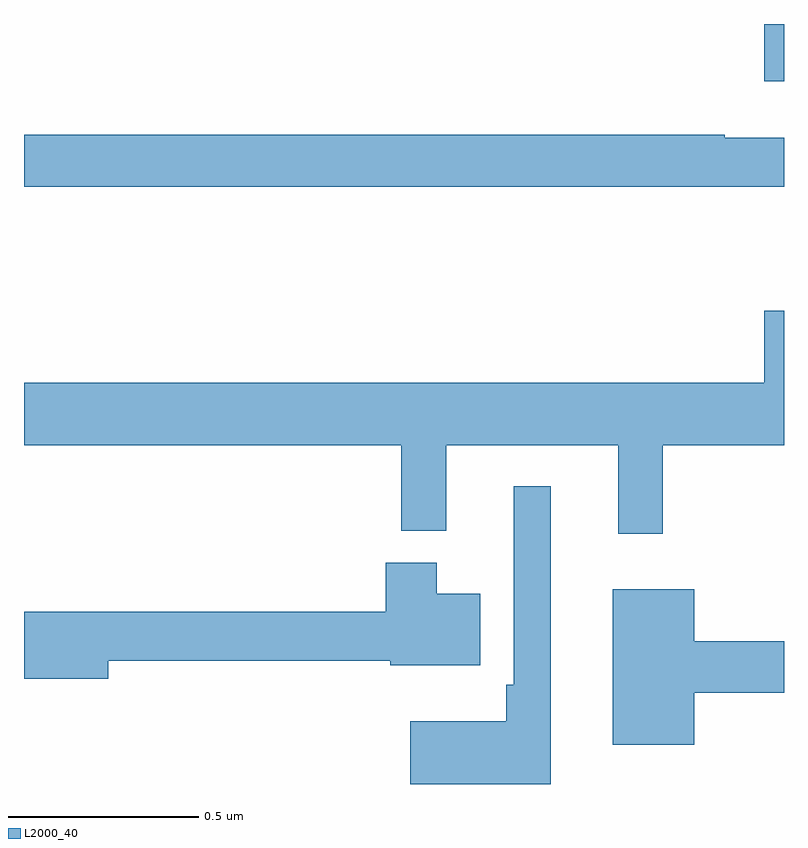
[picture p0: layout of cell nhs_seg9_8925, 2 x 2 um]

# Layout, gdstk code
import gdstk
lib = gdstk.Library(unit=1e-6, precision=1e-09)
def R(c, l, rs):  # rectangles x0, y0, x1, y1
    for r in rs: c.add(gdstk.rectangle(r[:2], r[2:], *l))
def P(c, l, *ps):  # polygons
    for p in ps: c.add(gdstk.Polygon(p, *l))
L2000_40 = (2000, 40)

nhs_seg9_8925 = lib.new_cell('nhs_seg9_8925')
R(nhs_seg9_8925, L2000_40, [(224.948,1225.35,225,1225.5)])
P(nhs_seg9_8925, L2000_40, [(225,1225.201),(224.844,1225.201),(224.844,1225.208),(223,1225.208),(223,1225.072),(225,1225.072)],
  [(224.681,1224.392),(225,1224.392),(225,1224.745),(224.948,1224.745),(224.948,1224.556),(223,1224.556),(223,1224.392),(223.993,1224.392),(223.993,1224.167),(224.111,1224.167),(224.111,1224.392),(224.564,1224.392),(224.564,1224.159),(224.681,1224.159)],
  [(224.386,1224.283),(224.289,1224.283),(224.289,1223.761),(224.269,1223.761),(224.269,1223.665),(224.016,1223.665),(224.016,1223.5),(224.386,1223.5)],
  [(223.222,1223.824),(223.964,1223.824),(223.964,1223.813),(224.2,1223.813),(224.2,1224.001),(224.086,1224.001),(224.086,1224.082),(223.952,1224.082),(223.952,1223.953),(223,1223.953),(223,1223.777),(223.222,1223.777)],
  [(224.764,1223.74),(225,1223.74),(225,1223.876),(224.764,1223.876),(224.764,1224.013),(224.549,1224.013),(224.549,1223.603),(224.764,1223.603)])

lib.write_gds('nhs_seg9_8925.gds')
